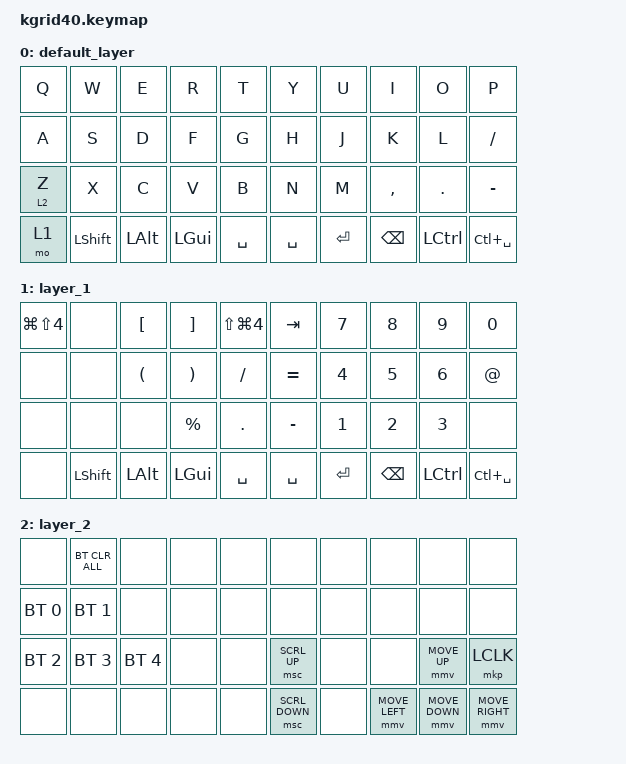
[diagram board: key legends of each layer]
#include <behaviors.dtsi>
#include <dt-bindings/zmk/bt.h>
#include <dt-bindings/zmk/keys.h>
#include <dt-bindings/zmk/pointing.h>

/ {
    /* コンボは干渉を避けるため削除した状態を維持します */

    keymap {
        compatible = "zmk,keymap";

        default_layer {
            bindings = <
&kp Q    &kp W      &kp E     &kp R     &kp T      &kp Y      &kp U      &kp I      &kp O      &kp P
&kp A    &kp S      &kp D     &kp F     &kp G      &kp H      &kp J      &kp K      &kp L      &kp SLASH
&lt 2 Z  &kp X      &kp C     &kp V     &kp B      &kp N      &kp M      &kp COMMA  &kp DOT    &kp MINUS
&mo 1    &kp LSHFT  &kp LALT  &kp LGUI  &kp SPACE  &kp SPACE  &kp ENTER  &kp BSPC   &kp LCTRL  &kp LC(SPACE)
            >;
        };

        layer_1 {
            bindings = <
&kp LG(LS(NUMBER_4))  &none      &kp LBKT  &kp RBKT   &kp LS(LG(N4))  &kp TAB    &kp N7     &kp N8    &kp N9     &kp N0
&none                 &none      &kp LPAR  &kp RPAR   &kp SLASH       &kp EQUAL  &kp N4     &kp N5    &kp N6     &kp AT
&none                 &none      &none     &kp PRCNT  &kp PERIOD      &kp MINUS  &kp N1     &kp N2    &kp N3     &none
&none                 &kp LSHFT  &kp LALT  &kp LGUI   &kp SPACE       &kp SPACE  &kp ENTER  &kp BSPC  &kp LCTRL  &kp LC(SPACE)
            >;
        };

        layer_2 {
            bindings = <
&none         &bt BT_CLR_ALL  &none         &none  &none  &none           &none  &none           &none           &none
&bt BT_SEL 0  &bt BT_SEL 1    &none         &none  &none  &none           &none  &none           &none           &none
&bt BT_SEL 2  &bt BT_SEL 3    &bt BT_SEL 4  &none  &none  &msc SCRL_UP    &none  &none           &mmv MOVE_UP    &mkp LCLK
&none         &none           &none         &none  &none  &msc SCRL_DOWN  &none  &mmv MOVE_LEFT  &mmv MOVE_DOWN  &mmv MOVE_RIGHT
            >;
        };
    };
};
